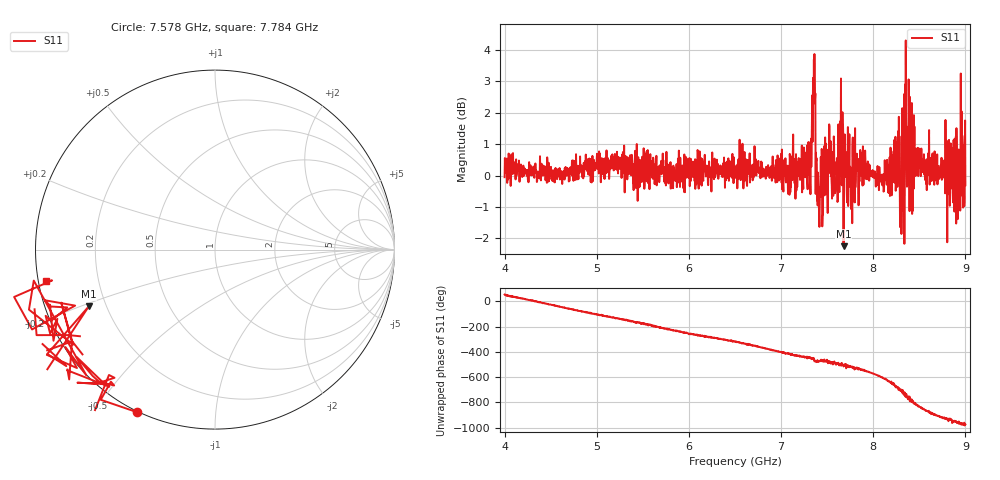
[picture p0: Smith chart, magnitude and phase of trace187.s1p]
! Created with skrf 1.8.0 (http://scikit-rf.org).
# Hz S RI R 50.0
!freq ReS11 ImS11
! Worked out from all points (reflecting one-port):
!   1601 points, 4 GHz to 9 GHz, reference 50 ohm
!   lowest |S11| = -2.3 dB at 7.678 GHz (marker M1), VSWR 7.76, Z = 6.74 - j10.6 ohm
!   phase of S11 starts at 55 deg and turns -1031 deg over the sweep
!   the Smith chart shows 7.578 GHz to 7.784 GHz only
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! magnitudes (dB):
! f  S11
! 4 GHz  -0.1
! 4.625 GHz  -0.3
! 5.25 GHz  0.3
! 5.875 GHz  -0.1
! 6.5 GHz  0.3
! 7.125 GHz  0.3
! 7.297 GHz  1.1
! 7.319 GHz  -0.6
! 7.347 GHz  3.1
! 7.362 GHz  3.9
! 7.4 GHz  0.1
! 7.412 GHz  -1.2
! 7.538 GHz  1.1
! 7.591 GHz  -0.2
! 7.647 GHz  0.9
! 7.678 GHz  -2.3
! 7.75 GHz  -0.4
! 7.891 GHz  0.0
! 8.097 GHz  0.0
! 8.259 GHz  1.0
! 8.312 GHz  2.1
! 8.338 GHz  -2.2
! 8.375 GHz  1.6
! 8.412 GHz  0.6
! 8.562 GHz  -0.1
! 8.856 GHz  0.5
! 8.972 GHz  0.9
! 9 GHz  -0.3
